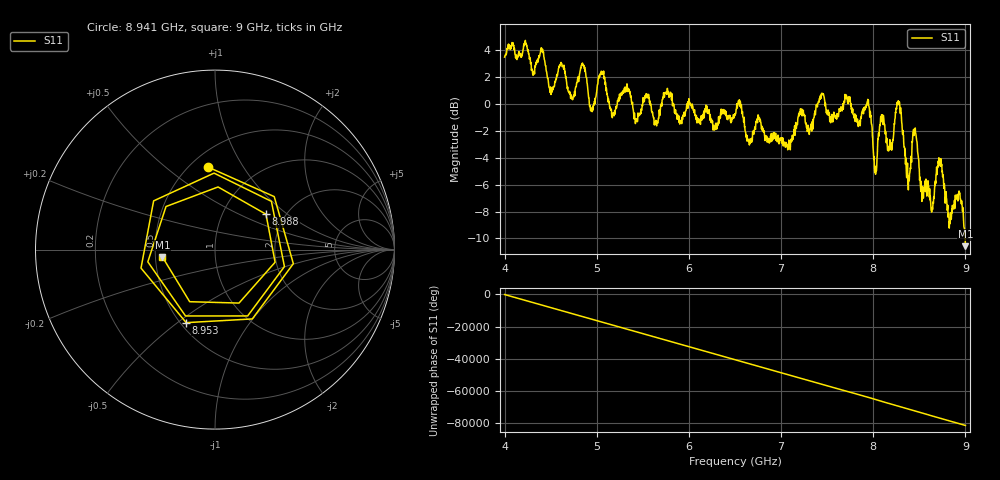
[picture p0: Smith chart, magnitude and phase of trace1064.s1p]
! Created with skrf 1.8.0 (http://scikit-rf.org).
# Hz S RI R 50.0
!freq ReS11 ImS11
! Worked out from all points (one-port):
!   1601 points, 4 GHz to 9 GHz, reference 50 ohm
!   lowest |S11| = -10.6 dB at 9 GHz (marker M1), VSWR 1.84, Z = 27.3 - j2.43 ohm
!   |S11| at or under -10 dB: 8.99771 GHz to end of sweep
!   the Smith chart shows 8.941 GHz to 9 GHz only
!   S11 on the Smith chart (normalised r, x): 8.941 GHz: 0.61, +0.71; 8.953 GHz: 0.53, -0.54; 8.988 GHz: 1.60, +0.71; 9 GHz: 0.55, -0.05
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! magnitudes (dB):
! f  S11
! 4 GHz  3.5
! 4.406 GHz  3.9
! 4.506 GHz  0.8
! 4.625 GHz  2.8
! 4.731 GHz  0.4
! 4.856 GHz  2.8
! 4.944 GHz  -0.5
! 5.05 GHz  2.4
! 5.166 GHz  -0.9
! 5.25 GHz  0.4
! 5.875 GHz  -0.8
! 6.5 GHz  -0.8
! 7.125 GHz  -2.6
! 7.75 GHz  0.3
! 7.95 GHz  -0.1
! 8.022 GHz  -5.0
! 8.091 GHz  -0.8
! 8.181 GHz  -2.7
! 8.278 GHz  -0.1
! 8.375 GHz  -5.9
! 8.45 GHz  -2.0
! 8.634 GHz  -8.0
! 8.719 GHz  -4.3
! 8.825 GHz  -9.2
! 8.941 GHz  -6.7
! 8.953 GHz  -7.2
! 8.988 GHz  -9.2
! 9 GHz  -10.6
